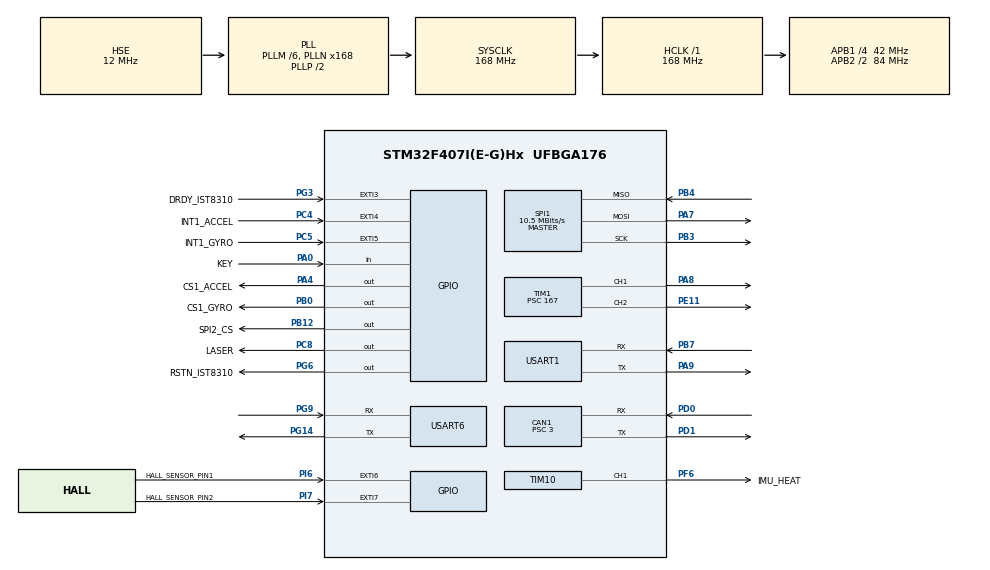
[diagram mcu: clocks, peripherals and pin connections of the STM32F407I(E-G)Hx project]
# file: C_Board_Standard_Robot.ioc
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CAN1.BS1=CAN_BS1_9TQ
CAN1.BS2=CAN_BS2_4TQ
CAN1.CalculateBaudRate=1000000
CAN1.CalculateTimeQuantum=71.42857142857143
CAN1.Prescaler=3
Dma.Request0=SPI1_RX
Dma.Request1=SPI1_TX
Dma.SPI1_RX.0.Direction=DMA_PERIPH_TO_MEMORY
Dma.SPI1_RX.0.FIFOMode=DMA_FIFOMODE_DISABLE
Dma.SPI1_RX.0.Instance=DMA2_Stream2
Dma.SPI1_RX.0.MemDataAlignment=DMA_MDATAALIGN_BYTE
Dma.SPI1_RX.0.MemInc=DMA_MINC_ENABLE
Dma.SPI1_RX.0.Mode=DMA_NORMAL
Dma.SPI1_RX.0.PeriphDataAlignment=DMA_PDATAALIGN_BYTE
Dma.SPI1_RX.0.PeriphInc=DMA_PINC_DISABLE
Dma.SPI1_RX.0.Priority=DMA_PRIORITY_VERY_HIGH
Dma.SPI1_TX.1.Direction=DMA_MEMORY_TO_PERIPH
Dma.SPI1_TX.1.FIFOMode=DMA_FIFOMODE_DISABLE
Dma.SPI1_TX.1.Instance=DMA2_Stream3
Dma.SPI1_TX.1.MemDataAlignment=DMA_MDATAALIGN_BYTE
Dma.SPI1_TX.1.MemInc=DMA_MINC_ENABLE
Dma.SPI1_TX.1.Mode=DMA_NORMAL
Dma.SPI1_TX.1.PeriphDataAlignment=DMA_PDATAALIGN_BYTE
Dma.SPI1_TX.1.PeriphInc=DMA_PINC_DISABLE
Dma.SPI1_TX.1.Priority=DMA_PRIORITY_HIGH
FREERTOS.INCLUDE_eTaskGetState=1
FREERTOS.INCLUDE_pcTaskGetTaskName=1
FREERTOS.INCLUDE_uxTaskGetStackHighWaterMark=1
FREERTOS.INCLUDE_vTaskCleanUpResources=1
FREERTOS.INCLUDE_vTaskDelayUntil=1
FREERTOS.INCLUDE_xEventGroupSetBitFromISR=1
FREERTOS.INCLUDE_xQueueGetMutexHolder=1
FREERTOS.INCLUDE_xSemaphoreGetMutexHolder=1
FREERTOS.INCLUDE_xTaskAbortDelay=1
FREERTOS.INCLUDE_xTaskGetCurrentTaskHandle=1
FREERTOS.INCLUDE_xTaskGetHandle=1
FREERTOS.INCLUDE_xTimerPendFunctionCall=1
FREERTOS.Tasks01=INSTask,0,1024,StartINSTask,Default,NULL,Dynamic,NULL,NULL;ROSTask,0,1024,StartROSTask,Default,NULL,Dynamic,NULL,NULL;CANTask,0,1024,StartCANTask,Default,NULL,Dynamic,NULL,NULL;DetectTask,-3,1024,StartDetectTask,Default,NULL,Dynamic,NULL,NULL
FREERTOS.configTOTAL_HEAP_SIZE=24576
Mcu.Family=STM32F4
Mcu.Name=STM32F407I(E-G)Hx
Mcu.Package=UFBGA176
NVIC.CAN1_RX0_IRQn=true\:5\:0\:false\:false\:true\:false\:true\:true
NVIC.CAN1_TX_IRQn=true\:5\:0\:false\:false\:true\:false\:true\:true
NVIC.DMA2_Stream2_IRQn=true\:5\:0\:true\:false\:false\:false\:false\:true
NVIC.DMA2_Stream3_IRQn=true\:5\:0\:true\:false\:false\:false\:false\:true
NVIC.EXTI3_IRQn=true\:5\:0\:true\:false\:true\:false\:true\:true
NVIC.EXTI4_IRQn=true\:5\:0\:true\:false\:true\:false\:true\:true
NVIC.EXTI9_5_IRQn=true\:5\:0\:true\:false\:true\:false\:true\:true
NVIC.PriorityGroup=NVIC_PRIORITYGROUP_4
NVIC.TIM2_IRQn=true\:0\:0\:false\:false\:true\:false\:false\:true
NVIC.TimeBase=TIM2_IRQn
NVIC.TimeBaseIP=TIM2
NVIC.USART1_IRQn=true\:6\:0\:true\:false\:true\:true\:true\:true
NVIC.USART6_IRQn=true\:7\:0\:true\:false\:true\:true\:true\:true
PA0-WKUP.GPIO_Label=KEY
PA0-WKUP.GPIO_PuPd=GPIO_PULLUP
PA0-WKUP.Signal=GPIO_Input
PA13.Mode=Serial_Wire
PA13.Signal=SYS_JTMS-SWDIO
PA14.Mode=Serial_Wire
PA14.Signal=SYS_JTCK-SWCLK
PA4.GPIO_Label=CS1_ACCEL
PA4.GPIO_PuPd=GPIO_PULLUP
PA4.GPIO_Speed=GPIO_SPEED_FREQ_HIGH
PA4.PinState=GPIO_PIN_SET
PA4.Signal=GPIO_Output
PA7.GPIO_PuPd=GPIO_PULLUP
PA7.Mode=Full_Duplex_Master
PA7.Signal=SPI1_MOSI
PA8.Signal=S_TIM1_CH1
PA9.Mode=Asynchronous
PA9.Signal=USART1_TX
PB0.GPIO_Label=CS1_GYRO
PB0.GPIO_PuPd=GPIO_PULLUP
PB0.GPIO_Speed=GPIO_SPEED_FREQ_HIGH
PB0.PinState=GPIO_PIN_SET
PB0.Signal=GPIO_Output
PB12.GPIO_Label=SPI2_CS
PB12.GPIO_PuPd=GPIO_PULLUP
PB12.GPIO_Speed=GPIO_SPEED_FREQ_MEDIUM
PB12.PinState=GPIO_PIN_SET
PB12.Signal=GPIO_Output
PB3.GPIO_PuPd=GPIO_PULLUP
PB3.Mode=Full_Duplex_Master
PB3.Signal=SPI1_SCK
PB4.GPIO_PuPd=GPIO_PULLUP
PB4.Mode=Full_Duplex_Master
PB4.Signal=SPI1_MISO
PB5.Signal=CAN2_RX
PB6.Signal=CAN2_TX
PB7.Mode=Asynchronous
PB7.Signal=USART1_RX
PC10.Signal=USART3_TX
PC11.Signal=USART3_RX
PC4.GPIO_Label=INT1_ACCEL
PC4.GPIO_ModeDefaultEXTI=GPIO_MODE_IT_FALLING
PC4.GPIO_PuPd=GPIO_PULLUP
PC4.Signal=GPXTI4
PC5.GPIO_Label=INT1_GYRO
PC5.GPIO_ModeDefaultEXTI=GPIO_MODE_IT_FALLING
PC5.GPIO_PuPd=GPIO_PULLUP
PC5.Signal=GPXTI5
PC8.GPIO_Label=LASER
PC8.Signal=GPIO_Output
PD0.Mode=CAN_Activate
PD0.Signal=CAN1_RX
PD1.Mode=CAN_Activate
PD1.Signal=CAN1_TX
PE11.Signal=S_TIM1_CH2
PF6.GPIO_Label=IMU_HEAT
PF6.GPIO_PuPd=GPIO_PULLUP
PF6.GPIO_Speed=GPIO_SPEED_FREQ_HIGH
PF6.Signal=S_TIM10_CH1
PG14.Mode=Asynchronous
PG14.Signal=USART6_TX
PG3.GPIO_Label=DRDY_IST8310
PG3.GPIO_ModeDefaultEXTI=GPIO_MODE_IT_FALLING
PG3.GPIO_PuPd=GPIO_PULLUP
PG3.Signal=GPXTI3
PG6.GPIO_Label=RSTN_IST8310
PG6.GPIO_PuPd=GPIO_PULLUP
PG6.GPIO_Speed=GPIO_SPEED_FREQ_MEDIUM
PG6.PinState=GPIO_PIN_SET
PG6.Signal=GPIO_Output
PG9.Mode=Asynchronous
PG9.Signal=USART6_RX
PH0-OSC_IN.Mode=HSE-External-Oscillator
PH0-OSC_IN.Signal=RCC_OSC_IN
PH1-OSC_OUT.Mode=HSE-External-Oscillator
PH1-OSC_OUT.Signal=RCC_OSC_OUT
PI6.GPIO_Label=HALL_SENSOR_PIN1
PI6.Signal=GPXTI6
PI7.GPIO_Label=HALL_SENSOR_PIN2
PI7.Signal=GPXTI7
ProjectManager.HeapSize=0x2000
ProjectManager.StackSize=0x2000
ProjectManager.TargetToolchain=MDK-ARM V5.32
RCC.48MHZClocksFreq_Value=48000000
RCC.AHBFreq_Value=168000000
RCC.APB1CLKDivider=RCC_HCLK_DIV4
RCC.APB1Freq_Value=42000000
RCC.APB1TimFreq_Value=84000000
RCC.APB2CLKDivider=RCC_HCLK_DIV2
RCC.APB2Freq_Value=84000000
RCC.APB2TimFreq_Value=168000000
RCC.CortexFreq_Value=168000000
RCC.HCLKFreq_Value=168000000
RCC.HSE_VALUE=12000000
RCC.HSI_VALUE=16000000
RCC.LSE_VALUE=32768
RCC.PLLM=6
RCC.PLLN=168
RCC.PLLQ=7
RCC.PLLSourceVirtual=RCC_PLLSOURCE_HSE
RCC.RCC_RTC_Clock_SourceVirtual=RCC_RTCCLKSOURCE_HSE_DIV30
RCC.RCC_RTC_Clock_Source_FROM_HSE=RCC_RTCCLKSOURCE_HSE_DIV30
RCC.SYSCLKFreq_VALUE=168000000
RCC.SYSCLKSource=RCC_SYSCLKSOURCE_PLLCLK
RCC.VCOOutputFreq_Value=336000000
SH.S_TIM10_CH1.0=TIM10_CH1,PWM Generation1 CH1
SH.S_TIM1_CH1.0=TIM1_CH1,PWM Generation1 CH1
SH.S_TIM1_CH2.0=TIM1_CH2,PWM Generation2 CH2
SPI1.BaudRatePrescaler=SPI_BAUDRATEPRESCALER_8
SPI1.CLKPhase=SPI_PHASE_2EDGE
SPI1.CLKPolarity=SPI_POLARITY_HIGH
SPI1.CalculateBaudRate=10.5 MBits/s
SPI1.Direction=SPI_DIRECTION_2LINES
SPI1.Mode=SPI_MODE_MASTER
SPI1.VirtualType=VM_MASTER
TIM1.Channel-PWM\ Generation1\ CH1=TIM_CHANNEL_1
TIM1.Channel-PWM\ Generation2\ CH2=TIM_CHANNEL_2
TIM1.Period=1999
TIM1.Prescaler=167
TIM10.Channel=TIM_CHANNEL_1
TIM10.Period=2000-1
TIM10.Prescaler=84-1
USART1.VirtualMode=VM_ASYNC
USART6.VirtualMode=VM_ASYNC
VP_FREERTOS_VS_CMSIS_V1.Mode=CMSIS_V1
VP_SYS_VS_tim2.Mode=TIM2
VP_TIM10_VS_ClockSourceINT.Mode=Enable_Timer
VP_TIM1_VS_ClockSourceINT.Mode=Internal
board=custom

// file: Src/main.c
/* USER CODE BEGIN Header */
/**
 ******************************************************************************
 * @file           : main.c
 * @brief          : Main program body
 ******************************************************************************
 * @attention
 *
 * <h2><center>&copy; Copyright (c) 2021 STMicroelectronics.
 * All rights reserved.</center></h2>
 *
 * This software component is licensed by ST under Ultimate Liberty license
 * SLA0044, the "License"; You may not use this file except in compliance with
 * the License. You may obtain a copy of the License at:
 *                             www.st.com/SLA0044
 *
 ******************************************************************************
 */
/* USER CODE END Header */
#include "main.h"
#include "cmsis_os.h"
#include "can.h"
#include "dma.h"
#include "spi.h"
#include "tim.h"
#include "usart.h"
#include "gpio.h"

/* USER CODE BEGIN Includes */
#include "BMI088driver.h"
#include "bsp_dwt.h"
#include "bsp_can.h"
#include "bsp_ros.h"
#include "bsp_chassis.h"
#include "string.h"
/* USER CODE END Includes */

void SystemClock_Config(void);
void MX_FREERTOS_Init(void);

int main(void)
{

  /* MCU Configuration--------------------------------------------------------*/

  /* Reset of all peripherals, Initializes the Flash interface and the Systick. */
  HAL_Init();

  /* Configure the system clock */
  SystemClock_Config();

  /* Initialize all configured peripherals */
  MX_GPIO_Init();
  MX_DMA_Init();
  MX_SPI1_Init();
  MX_TIM10_Init();
  MX_CAN1_Init();
  MX_USART1_UART_Init();
  MX_USART6_UART_Init();
  MX_TIM1_Init();
  /* USER CODE BEGIN 2 */
		can_filter_init();
		HAL_UART_Receive_IT(&huart1, RxBuffer, 1);
		HAL_UART_Receive_IT(&huart6, pidRxBuffer, 1);
    DWT_Init(168);
    while (BMI088_init(&hspi1, 1) != BMI088_NO_ERROR)
        ;
  /* USER CODE END 2 */

  /* Call init function for freertos objects (in freertos.c) */
  MX_FREERTOS_Init();
  /* Start scheduler */
  osKernelStart();

  /* We should never get here as control is now taken by the scheduler */
  /* Infinite loop */
    while (1)
    {

    }
}

void SystemClock_Config(void)
{
  RCC_OscInitTypeDef RCC_OscInitStruct = {0};
  RCC_ClkInitTypeDef RCC_ClkInitStruct = {0};

  /** Configure the main internal regulator output voltage
  */
  __HAL_RCC_PWR_CLK_ENABLE();
  __HAL_PWR_VOLTAGESCALING_CONFIG(PWR_REGULATOR_VOLTAGE_SCALE1);
  /** Initializes the RCC Oscillators according to the specified parameters
  * in the RCC_OscInitTypeDef structure.
  */
  RCC_OscInitStruct.OscillatorType = RCC_OSCILLATORTYPE_HSE;
  RCC_OscInitStruct.HSEState = RCC_HSE_ON;
  RCC_OscInitStruct.PLL.PLLState = RCC_PLL_ON;
  RCC_OscInitStruct.PLL.PLLSource = RCC_PLLSOURCE_HSE;
  RCC_OscInitStruct.PLL.PLLM = 6;
  RCC_OscInitStruct.PLL.PLLN = 168;
  RCC_OscInitStruct.PLL.PLLP = RCC_PLLP_DIV2;
  RCC_OscInitStruct.PLL.PLLQ = 7;
  if (HAL_RCC_OscConfig(&RCC_OscInitStruct) != HAL_OK)
  {
    Error_Handler();
  }
  /** Initializes the CPU, AHB and APB buses clocks
  */
  RCC_ClkInitStruct.ClockType = RCC_CLOCKTYPE_HCLK|RCC_CLOCKTYPE_SYSCLK
                              |RCC_CLOCKTYPE_PCLK1|RCC_CLOCKTYPE_PCLK2;
  RCC_ClkInitStruct.SYSCLKSource = RCC_SYSCLKSOURCE_PLLCLK;
  RCC_ClkInitStruct.AHBCLKDivider = RCC_SYSCLK_DIV1;
  RCC_ClkInitStruct.APB1CLKDivider = RCC_HCLK_DIV4;
  RCC_ClkInitStruct.APB2CLKDivider = RCC_HCLK_DIV2;

  if (HAL_RCC_ClockConfig(&RCC_ClkInitStruct, FLASH_LATENCY_5) != HAL_OK)
  {
    Error_Handler();
  }
}

void HAL_TIM_PeriodElapsedCallback(TIM_HandleTypeDef *htim)
{
  if (htim->Instance == TIM2) {
    HAL_IncTick();
  }
}

void Error_Handler(void)
{
}

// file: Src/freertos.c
/* USER CODE BEGIN Header */
/**
 ******************************************************************************
 * File Name          : freertos.c
 * Description        : Code for freertos applications
 ******************************************************************************
 * @attention
 *
 * <h2><center>&copy; Copyright (c) 2021 STMicroelectronics.
 * All rights reserved.</center></h2>
 *
 * This software component is licensed by ST under Ultimate Liberty license
 * SLA0044, the "License"; You may not use this file except in compliance with
 * the License. You may obtain a copy of the License at:
 *                             www.st.com/SLA0044
 *
 ******************************************************************************
 */
/* USER CODE END Header */

#include "FreeRTOS.h"
#include "task.h"
#include "main.h"
#include "cmsis_os.h"

/* USER CODE BEGIN Includes */
#include "ins_task.h"
#include "detect_task.h"
#include "bsp_ros.h"
#include "bsp_chassis.h"
#include "usart.h"
#include "string.h"
#include "stdio.h"
/* USER CODE END Includes */

osThreadId INSTaskHandle;
osThreadId ROSTaskHandle;
osThreadId CANTaskHandle;
osThreadId DetectTaskHandle;

void StartINSTask(void const * argument);
void StartROSTask(void const * argument);
void StartCANTask(void const * argument);
void StartDetectTask(void const * argument);

void MX_FREERTOS_Init(void); /* (MISRA C 2004 rule 8.1) */

/* GetIdleTaskMemory prototype (linked to static allocation support) */
void vApplicationGetIdleTaskMemory( StaticTask_t **ppxIdleTaskTCBBuffer, StackType_t **ppxIdleTaskStackBuffer, uint32_t *pulIdleTaskStackSize );

/* GetTimerTaskMemory prototype (linked to static allocation support) */
void vApplicationGetTimerTaskMemory( StaticTask_t **ppxTimerTaskTCBBuffer, StackType_t **ppxTimerTaskStackBuffer, uint32_t *pulTimerTaskStackSize );

/* USER CODE BEGIN GET_IDLE_TASK_MEMORY */
static StaticTask_t xIdleTaskTCBBuffer;
static StackType_t xIdleStack[configMINIMAL_STACK_SIZE];

void vApplicationGetIdleTaskMemory( StaticTask_t **ppxIdleTaskTCBBuffer, StackType_t **ppxIdleTaskStackBuffer, uint32_t *pulIdleTaskStackSize )
{
  *ppxIdleTaskTCBBuffer = &xIdleTaskTCBBuffer;
  *ppxIdleTaskStackBuffer = &xIdleStack[0];
  *pulIdleTaskStackSize = configMINIMAL_STACK_SIZE;
  /* place for user code */
}
/* USER CODE END GET_IDLE_TASK_MEMORY */

/* USER CODE BEGIN GET_TIMER_TASK_MEMORY */
static StaticTask_t xTimerTaskTCBBuffer;
static StackType_t xTimerStack[configTIMER_TASK_STACK_DEPTH];

void vApplicationGetTimerTaskMemory( StaticTask_t **ppxTimerTaskTCBBuffer, StackType_t **ppxTimerTaskStackBuffer, uint32_t *pulTimerTaskStackSize )
{
  *ppxTimerTaskTCBBuffer = &xTimerTaskTCBBuffer;
  *ppxTimerTaskStackBuffer = &xTimerStack[0];
  *pulTimerTaskStackSize = configTIMER_TASK_STACK_DEPTH;
  /* place for user code */
}
/* USER CODE END GET_TIMER_TASK_MEMORY */

void MX_FREERTOS_Init(void) {

  /* Create the thread(s) */
  /* definition and creation of INSTask */
  osThreadDef(INSTask, StartINSTask, osPriorityNormal, 0, 1024);
  INSTaskHandle = osThreadCreate(osThread(INSTask), NULL);

  /* definition and creation of ROSTask */
  osThreadDef(ROSTask, StartROSTask, osPriorityNormal, 0, 1024);
  ROSTaskHandle = osThreadCreate(osThread(ROSTask), NULL);

  /* definition and creation of CANTask */
  osThreadDef(CANTask, StartCANTask, osPriorityNormal, 0, 1024);
  CANTaskHandle = osThreadCreate(osThread(CANTask), NULL);

  /* definition and creation of DetectTask */
  osThreadDef(DetectTask, StartDetectTask, osPriorityIdle, 0, 128);
  DetectTaskHandle = osThreadCreate(osThread(DetectTask), NULL);

}

void StartINSTask(void const * argument)
{
  /* USER CODE BEGIN StartINSTask */
    INS_Init();
    /* Infinite loop */
    for (;;)
    {
        INS_Task();
			//printf("%.02f,%.02f,%.02f\n", INS.Pitch, INS.Roll, INS.Yaw);
        osDelay(1);
    }
  /* USER CODE END StartINSTask */
}

void StartROSTask(void const * argument)
{
  /* USER CODE BEGIN StartROSTask */

  Message_Init();
  /* Infinite loop */
  for(;;)
  {
    Ros_Upload();
    Ros_Transmit();
		//printf("%.2f,%.2f\n",get_chassisMove_point()->wz_set, get_chassisMove_point()->error_angle);
    osDelay(1);
  }
  /* USER CODE END StartROSTask */
}

void StartCANTask(void const * argument)
{
  /* USER CODE BEGIN StartCANTask */
  while (toe_is_error(ROSTOE))
  {
    vTaskDelay(2);
  }
  Chassis_init();
  /* Infinite loop */
  for(;;)
  {
		chassis_ctrl();

    osDelay(1);
  }
  /* USER CODE END StartCANTask */
}

void StartDetectTask(void const * argument)
{
  /* USER CODE BEGIN StartDetectTask */
  static uint32_t systemTime;

  systemTime = xTaskGetTickCount();

  // 初始化
  DetectInit(systemTime);
  /* Infinite loop */
  for(;;)
  {
    DetectTask();
  }
  /* USER CODE END StartDetectTask */
}
